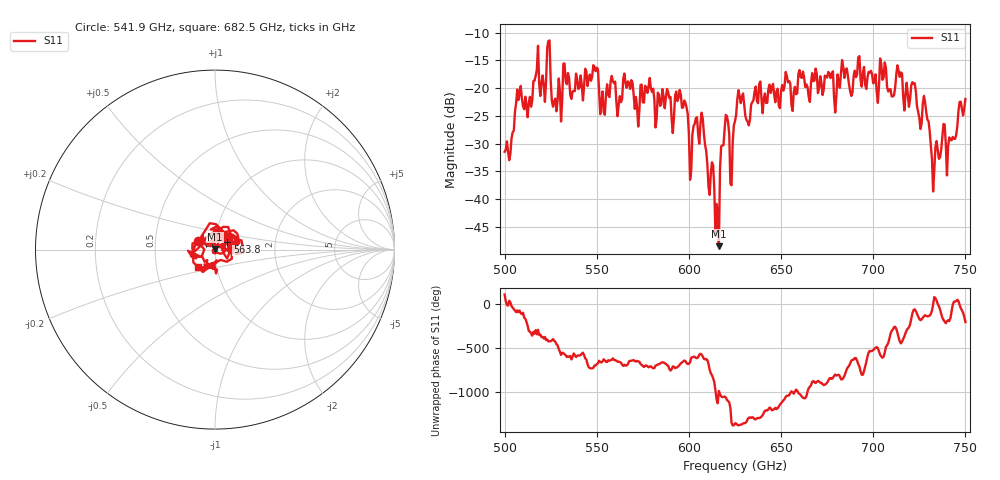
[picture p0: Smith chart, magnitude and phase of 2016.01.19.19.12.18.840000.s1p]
!Created with skrf (http://scikit-rf.org).
# GHz S RI R 50.0
!freq ReS11 ImS11
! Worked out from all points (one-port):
!   401 points, 500 GHz to 750 GHz, reference 50 ohm
!   lowest |S11| = -48.5 dB at 616.2 GHz (marker M1), VSWR 1.01, Z = 50 + j0.376 ohm
!   |S11| at or under -10 dB: start of sweep to end of sweep
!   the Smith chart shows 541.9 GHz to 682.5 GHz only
!   S11 on the Smith chart (normalised r, x): 541.9 GHz: 0.82, +0.08; 563.8 GHz: 1.14, +0.10; 682.5 GHz: 0.81, -0.16
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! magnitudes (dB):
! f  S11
! 500 GHz  -31.5
! 516.9 GHz  -17.7
! 531.2 GHz  -22.0
! 541.9 GHz  -19.5
! 549.4 GHz  -16.9
! 553.1 GHz  -20.6
! 558.8 GHz  -18.8
! 562.5 GHz  -21.4
! 563.8 GHz  -21.9
! 593.8 GHz  -22.3
! 601.2 GHz  -34.9
! 607.5 GHz  -25.5
! 615 GHz  -40.9
! 616.2 GHz  -48.5
! 619.4 GHz  -27.3
! 623.1 GHz  -37.5
! 625 GHz  -25.9
! 628.1 GHz  -22.7
! 631.9 GHz  -26.1
! 637.5 GHz  -22.7
! 656.2 GHz  -24.1
! 682.5 GHz  -17.2
! 687.5 GHz  -20.6
! 705 GHz  -18.5
! 718.8 GHz  -21.1
! 728.1 GHz  -22.5
! 732.5 GHz  -38.6
! 750 GHz  -22.0
